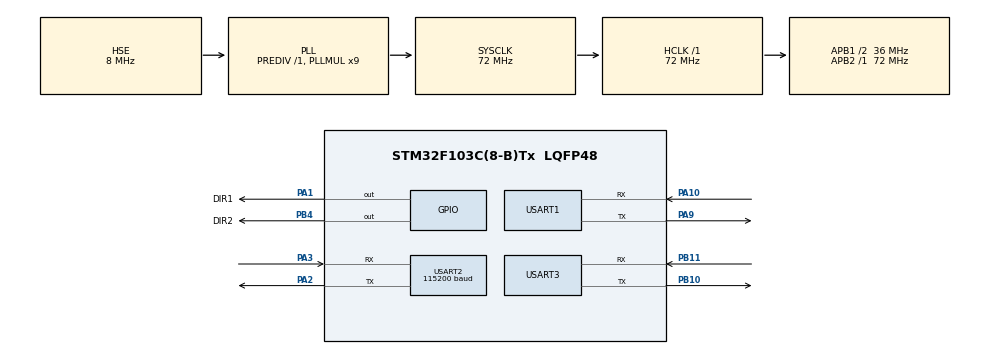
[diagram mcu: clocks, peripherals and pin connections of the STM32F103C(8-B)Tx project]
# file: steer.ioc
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Mcu.Family=STM32F1
Mcu.Name=STM32F103C(8-B)Tx
Mcu.Package=LQFP48
NVIC.PriorityGroup=NVIC_PRIORITYGROUP_4
NVIC.USART1_IRQn=true\:0\:0\:false\:false\:true\:true\:true\:true
NVIC.USART2_IRQn=true\:0\:0\:false\:false\:true\:true\:true\:true
NVIC.USART3_IRQn=true\:0\:0\:false\:false\:true\:true\:true\:true
PA1.GPIO_Label=DIR1
PA1.PinState=GPIO_PIN_RESET
PA1.Signal=GPIO_Output
PA10.Mode=Asynchronous
PA10.Signal=USART1_RX
PA13.Mode=Serial_Wire
PA13.Signal=SYS_JTMS-SWDIO
PA14.Mode=Serial_Wire
PA14.Signal=SYS_JTCK-SWCLK
PA2.Mode=Asynchronous
PA2.Signal=USART2_TX
PA3.Mode=Asynchronous
PA3.Signal=USART2_RX
PA9.Mode=Asynchronous
PA9.Signal=USART1_TX
PB10.Mode=Asynchronous
PB10.Signal=USART3_TX
PB11.Mode=Asynchronous
PB11.Signal=USART3_RX
PB4.GPIO_Label=DIR2
PB4.Signal=GPIO_Output
PC14-OSC32_IN.Mode=LSE-External-Oscillator
PC14-OSC32_IN.Signal=RCC_OSC32_IN
PC15-OSC32_OUT.Mode=LSE-External-Oscillator
PC15-OSC32_OUT.Signal=RCC_OSC32_OUT
PD0-OSC_IN.Mode=HSE-External-Oscillator
PD0-OSC_IN.Signal=RCC_OSC_IN
PD1-OSC_OUT.Mode=HSE-External-Oscillator
PD1-OSC_OUT.Signal=RCC_OSC_OUT
ProjectManager.HeapSize=0x200
ProjectManager.StackSize=0x400
ProjectManager.TargetToolchain=STM32CubeIDE
RCC.AHBFreq_Value=72000000
RCC.APB1CLKDivider=RCC_HCLK_DIV2
RCC.APB1Freq_Value=36000000
RCC.APB1TimFreq_Value=72000000
RCC.APB2Freq_Value=72000000
RCC.APB2TimFreq_Value=72000000
RCC.HCLKFreq_Value=72000000
RCC.PLLMUL=RCC_PLL_MUL9
RCC.PLLSourceVirtual=RCC_PLLSOURCE_HSE
RCC.SYSCLKFreq_VALUE=72000000
RCC.SYSCLKSource=RCC_SYSCLKSOURCE_PLLCLK
RCC.USBFreq_Value=72000000
USART1.VirtualMode=VM_ASYNC
USART2.BaudRate=115200
USART2.VirtualMode=VM_ASYNC
USART3.VirtualMode=VM_ASYNC
VP_TIM1_VS_ClockSourceINT.Mode=Internal
board=custom

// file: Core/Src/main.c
/* USER CODE BEGIN Header */
/**
  ******************************************************************************
  * @file           : main.c
  * @brief          : Main program body
  ******************************************************************************
  * @attention
  *
  * Copyright (c) 2025 STMicroelectronics.
  * All rights reserved.
  *
  * This software is licensed under terms that can be found in the LICENSE file
  * in the root directory of this software component.
  * If no LICENSE file comes with this software, it is provided AS-IS.
  *
  ******************************************************************************
  */
/* USER CODE END Header */
#include "main.h"
#include "tim.h"
#include "usart.h"
#include "gpio.h"

/* USER CODE BEGIN PTD */
// 舵机位置信息结构体
typedef struct {
    uint8_t id;
    uint16_t length;
    uint8_t inst;
    uint8_t error;
    uint32_t position;
    uint8_t crc1;
    uint8_t crc2;
} XPositionInfo;

typedef struct {
    uint8_t id;
    uint16_t length;
    uint8_t inst;
    uint8_t error;
    uint16_t position;
    uint8_t crc1;
    uint8_t crc2;
} X320PositionInfo;
/* USER CODE END PTD */

/* USER CODE BEGIN PV */
/*                  		֡ͷ                  id      length       instruct    address     parameters               crc          */
uint8_t torqueFrame[]={  0xFF,0xFF,0xFD,0x00,  0x00,   0x06,0x00,   0x03,      0x40,0x00,   0x01,                   0x00,0x00};
uint8_t ledFrame[]={     0xFF,0xFF,0xFD,0x00,  0x00,   0x06,0x00,   0x03,      0x19,0x00,   0x01,                   0x00,0x00};
uint8_t ctrlModeFrame[]={0xFF,0xFF,0xFD,0x00,  0x00,   0x06,0x00,   0x03,      0x0B,0x00,   0x02,                   0x00,0x00};
uint8_t xl320PFrame[]={  0xFF,0xFF,0xFD,0x00,  0x00,   0x07,0x00,   0x03,      0x1e,0x00,   0x01,0x00,              0x65,0x6D};
uint8_t xl320MSFrame[]={ 0xFF,0xFF,0xFD,0x00,  0x00,   0x07,0x00,   0x03,      0x20,0x00,   0x01,0x00,              0x65,0x6D};
uint8_t xl320PGFrame[]={ 0xFF,0xFF,0xFD,0x00,  0x00,   0x06,0x00,   0x03,      0x1D,0x00,   0x20,                   0x65,0x6D};

uint8_t xl320PRead[]={   0xFF,0xFF,0xFD,0x00,  0x00,   0x07,0x00,   0x02,      0x25,0x00,   0x02,0x00,              0x21,0xB5};

X320PositionInfo *xl320_1=0;
uint8_t xl320_1_data[9];

// 添加读取位置指令帧
uint8_t xl320ReadGoalPosition[] = {0xFF,0xFF,0xFD,0x00,0x00,0x07,0x00,0x02,0x25,0x00,0x02,0x00,0x21,0xB5};

// 串口接收缓冲区
uint8_t uart2_rx_buffer[16];
volatile uint8_t position_received = 0;

/* USER CODE END PV */

void SystemClock_Config(void);
/* USER CODE BEGIN PFP */
// XL系列舵机函数声明
void xlSeriesStart(void);
void xlSeriesControlMode(uint8_t id, uint8_t mode);
void xlSeriesSetDirection(uint8_t tx_mode);
void xlSeriesSendFrame(UART_HandleTypeDef *huart, uint8_t *frame, uint16_t length);
uint16_t updateCRC(uint16_t crc_accum, uint8_t *data_blk_ptr, uint16_t data_blk_size);
void xlSeriesLed(uint8_t id, uint8_t on, uint8_t address);
void xlSeriesTorque(uint8_t id, uint8_t on, uint8_t address);
void xl320SendPosition(uint8_t id, uint16_t position);
void xl320SendMovingSpeed(uint8_t id, uint16_t movingSpeed);
void xl320SendPGain(uint8_t id, uint8_t pGain);
void xl320ReadPosition(uint8_t id);
void xlPowerOff(uint8_t isOn);
// 新增函数声明
void xl320ReadPosition(uint8_t id);
uint8_t verifyPositionPacket(uint8_t *data);
uint16_t parsePositionValue(uint8_t *data);
uint16_t processPositionData(void);
void USART2_ReadCallback(void);
/* USER CODE END PFP */

int main(void)
{

  /* MCU Configuration--------------------------------------------------------*/

  /* Reset of all peripherals, Initializes the Flash interface and the Systick. */
  HAL_Init();

  /* Configure the system clock */
  SystemClock_Config();

  /* Initialize all configured peripherals */
  MX_GPIO_Init();
  MX_USART1_UART_Init();
  MX_TIM1_Init();
  MX_USART2_UART_Init();
  MX_USART3_UART_Init();

  /* USER CODE BEGIN 2 */
  // 初始化舵机系统
  xlSeriesStart();

  // 设置舵机到初始位置
  //xl320SendMovingSpeed(SERVO_ID, 100);
  xl320SendPosition(SERVO_ID, 610);
  xlSeriesLed(SERVO_ID, LED_CYAN, XL320Led);
  HAL_Delay(2000);
//  xl320SendPosition(SERVO_ID, 0);
//  xlSeriesLed(SERVO_ID, LED_PURPLE, XL320Led);
//  HAL_Delay(1000);

  // === 新增：读取位置并控制LED ===
  // 1. 发送读取位置指令
  xl320ReadPosition(SERVO_ID);

  // 2. 等待接收数据
  HAL_Delay(10); // 短暂等待数据接收

  // 3. 处理接收到的数据
  uint16_t curr_pos = processPositionData();
  char message[50];
  uint16_t len = sprintf(message, "id:%d, position:%d\r\n", SERVO_ID, curr_pos);

  /* USER CODE END 2 */

  /* Infinite loop */
  while (1)
  {

    HAL_Delay(1000);

    Debug_Print(message,len);

	HAL_Delay(1000);

  }
  /* USER CODE END 3 */
}
void SystemClock_Config(void)
{
  RCC_OscInitTypeDef RCC_OscInitStruct = {0};
  RCC_ClkInitTypeDef RCC_ClkInitStruct = {0};

  /** Initializes the RCC Oscillators according to the specified parameters
  * in the RCC_OscInitTypeDef structure.
  */
  RCC_OscInitStruct.OscillatorType = RCC_OSCILLATORTYPE_HSE;
  RCC_OscInitStruct.HSEState = RCC_HSE_ON;
  RCC_OscInitStruct.HSEPredivValue = RCC_HSE_PREDIV_DIV1;
  RCC_OscInitStruct.HSIState = RCC_HSI_ON;
  RCC_OscInitStruct.PLL.PLLState = RCC_PLL_ON;
  RCC_OscInitStruct.PLL.PLLSource = RCC_PLLSOURCE_HSE;
  RCC_OscInitStruct.PLL.PLLMUL = RCC_PLL_MUL9;
  if (HAL_RCC_OscConfig(&RCC_OscInitStruct) != HAL_OK)
  {
    Error_Handler();
  }

  /** Initializes the CPU, AHB and APB buses clocks
  */
  RCC_ClkInitStruct.ClockType = RCC_CLOCKTYPE_HCLK|RCC_CLOCKTYPE_SYSCLK
                              |RCC_CLOCKTYPE_PCLK1|RCC_CLOCKTYPE_PCLK2;
  RCC_ClkInitStruct.SYSCLKSource = RCC_SYSCLKSOURCE_PLLCLK;
  RCC_ClkInitStruct.AHBCLKDivider = RCC_SYSCLK_DIV1;
  RCC_ClkInitStruct.APB1CLKDivider = RCC_HCLK_DIV2;
  RCC_ClkInitStruct.APB2CLKDivider = RCC_HCLK_DIV1;

  if (HAL_RCC_ClockConfig(&RCC_ClkInitStruct, FLASH_LATENCY_2) != HAL_OK)
  {
    Error_Handler();
  }
}

/* USER CODE BEGIN 4 */
// ============================================================================
// XL系列舵机控制函数
// ============================================================================

/**
  * @brief  初始化舵机系统
  * @retval None
  */
void xlSeriesStart(void)
{
    // 初始化LED和扭矩

    xlSeriesLed(SERVO_ID, 0x01, XL320Led);
    HAL_Delay(100);

    xlSeriesTorque(SERVO_ID, 0x00, XL320Torque);
    HAL_Delay(100);

    xlSeriesControlMode(SERVO_ID, 2);
    HAL_Delay(100);

    xl320SendMovingSpeed(SERVO_ID, 100);
}

/**
  * @brief  设置通信方向
  * @param  tx_mode: 1=发送模式, 0=接收模式
  * @retval None
  */
void xlSeriesSetDirection(uint8_t tx_mode)
{
    if (tx_mode) {
        HAL_GPIO_WritePin(DIR1_GPIO_Port, DIR1_Pin, GPIO_PIN_SET);
    } else {
        HAL_GPIO_WritePin(DIR1_GPIO_Port, DIR1_Pin, GPIO_PIN_RESET);
    }
}

/**
  * @brief  发送数据帧
  * @param  huart: 串口句柄
  * @param  frame: 数据帧指针
  * @param  length: 数据长度
  * @retval None
  */
void xlSeriesSendFrame(UART_HandleTypeDef *huart, uint8_t *frame, uint16_t length)
{
    xlSeriesSetDirection(1); // 设置为发送模式

    HAL_UART_Transmit(huart, frame, length, 100);

    // 等待发送完成
    while (HAL_UART_GetState(huart) != HAL_UART_STATE_READY);

    xlSeriesSetDirection(0); // 切换回接收模式
}

/**
  * @brief  CRC计算函数
  * @param  crc_accum: 初始CRC值
  * @param  data_blk_ptr: 数据指针
  * @param  data_blk_size: 数据长度
  * @retval 计算后的CRC值
  */
uint16_t updateCRC(uint16_t crc_accum, uint8_t *data_blk_ptr, uint16_t data_blk_size)
{
	  uint16_t i, j;
	  static const uint16_t crc_table[256] = { 0x0000,
	    0x8005, 0x800F, 0x000A, 0x801B, 0x001E, 0x0014, 0x8011,
	    0x8033, 0x0036, 0x003C, 0x8039, 0x0028, 0x802D, 0x8027,
	    0x0022, 0x8063, 0x0066, 0x006C, 0x8069, 0x0078, 0x807D,
	    0x8077, 0x0072, 0x0050, 0x8055, 0x805F, 0x005A, 0x804B,
	    0x004E, 0x0044, 0x8041, 0x80C3, 0x00C6, 0x00CC, 0x80C9,
	    0x00D8, 0x80DD, 0x80D7, 0x00D2, 0x00F0, 0x80F5, 0x80FF,
	    0x00FA, 0x80EB, 0x00EE, 0x00E4, 0x80E1, 0x00A0, 0x80A5,
	    0x80AF, 0x00AA, 0x80BB, 0x00BE, 0x00B4, 0x80B1, 0x8093,
	    0x0096, 0x009C, 0x8099, 0x0088, 0x808D, 0x8087, 0x0082,
	    0x8183, 0x0186, 0x018C, 0x8189, 0x0198, 0x819D, 0x8197,
	    0x0192, 0x01B0, 0x81B5, 0x81BF, 0x01BA, 0x81AB, 0x01AE,
	    0x01A4, 0x81A1, 0x01E0, 0x81E5, 0x81EF, 0x01EA, 0x81FB,
	    0x01FE, 0x01F4, 0x81F1, 0x81D3, 0x01D6, 0x01DC, 0x81D9,
	    0x01C8, 0x81CD, 0x81C7, 0x01C2, 0x0140, 0x8145, 0x814F,
	    0x014A, 0x815B, 0x015E, 0x0154, 0x8151, 0x8173, 0x0176,
	    0x017C, 0x8179, 0x0168, 0x816D, 0x8167, 0x0162, 0x8123,
	    0x0126, 0x012C, 0x8129, 0x0138, 0x813D, 0x8137, 0x0132,
	    0x0110, 0x8115, 0x811F, 0x011A, 0x810B, 0x010E, 0x0104,
	    0x8101, 0x8303, 0x0306, 0x030C, 0x8309, 0x0318, 0x831D,
	    0x8317, 0x0312, 0x0330, 0x8335, 0x833F, 0x033A, 0x832B,
	    0x032E, 0x0324, 0x8321, 0x0360, 0x8365, 0x836F, 0x036A,
	    0x837B, 0x037E, 0x0374, 0x8371, 0x8353, 0x0356, 0x035C,
	    0x8359, 0x0348, 0x834D, 0x8347, 0x0342, 0x03C0, 0x83C5,
	    0x83CF, 0x03CA, 0x83DB, 0x03DE, 0x03D4, 0x83D1, 0x83F3,
	    0x03F6, 0x03FC, 0x83F9, 0x03E8, 0x83ED, 0x83E7, 0x03E2,
	    0x83A3, 0x03A6, 0x03AC, 0x83A9, 0x03B8, 0x83BD, 0x83B7,
	    0x03B2, 0x0390, 0x8395, 0x839F, 0x039A, 0x838B, 0x038E,
	    0x0384, 0x8381, 0x0280, 0x8285, 0x828F, 0x028A, 0x829B,
	    0x029E, 0x0294, 0x8291, 0x82B3, 0x02B6, 0x02BC, 0x82B9,
	    0x02A8, 0x82AD, 0x82A7, 0x02A2, 0x82E3, 0x02E6, 0x02EC,
	    0x82E9, 0x02F8, 0x82FD, 0x82F7, 0x02F2, 0x02D0, 0x82D5,
	    0x82DF, 0x02DA, 0x82CB, 0x02CE, 0x02C4, 0x82C1, 0x8243,
	    0x0246, 0x024C, 0x8249, 0x0258, 0x825D, 0x8257, 0x0252,
	    0x0270, 0x8275, 0x827F, 0x027A, 0x826B, 0x026E, 0x0264,
	    0x8261, 0x0220, 0x8225, 0x822F, 0x022A, 0x823B, 0x023E,
	    0x0234, 0x8231, 0x8213, 0x0216, 0x021C, 0x8219, 0x0208,
	    0x820D, 0x8207, 0x0202 };

	  for (j = 0; j < data_blk_size; j++)
	  {
	    i = ((uint16_t)(crc_accum >> 8) ^ *data_blk_ptr++) & 0xFF;
	    crc_accum = (crc_accum << 8) ^ crc_table[i];
	  }

	  return crc_accum;
}

/**
  * @brief  控制舵机LED
  * @param  id: 舵机ID
  * @param  on: LED状态
  * @param  address: LED地址
  * @retval None
  */
void xlSeriesLed(uint8_t id, uint8_t on, uint8_t address)
{
    uint16_t crc;

    ledFrame[4] = id;
    ledFrame[8] = address;
    ledFrame[10] = on;

    crc = updateCRC(0, ledFrame, 11);
    ledFrame[11] = (uint8_t)(crc & 0xff);
    ledFrame[12] = (uint8_t)((crc >> 8) & 0xff);

    xlSeriesSendFrame(&huart2, ledFrame, 13);
    HAL_Delay(1);
}

/**
  * @brief  控制舵机模式
  * @param  id: 舵机ID
  * @param  mode: 控制模式：1、滚动模式 2、关节模式
  * @retval None
  */
void xlSeriesControlMode(uint8_t id, uint8_t mode)
{
    uint16_t crc;

    ctrlModeFrame[4] = id;
    ctrlModeFrame[10] = mode;

    crc = updateCRC(0, ctrlModeFrame, 11);
    ctrlModeFrame[11] = (uint8_t)(crc & 0xff);
    ctrlModeFrame[12] = (uint8_t)((crc >> 8) & 0xff);

    xlSeriesSendFrame(&huart2, ctrlModeFrame, 13);
    HAL_Delay(1);
}

/**
  * @brief  控制舵机扭矩
  * @param  id: 舵机ID
  * @param  on: 扭矩状态
  * @param  address: 扭矩地址
  * @retval None
  */
void xlSeriesTorque(uint8_t id, uint8_t on, uint8_t address)
{
    uint16_t crc;

    torqueFrame[4] = id;
    torqueFrame[8] = address;
    torqueFrame[10] = on;

    crc = updateCRC(0, torqueFrame, 11);
    torqueFrame[11] = (uint8_t)(crc & 0xff);
    torqueFrame[12] = (uint8_t)((crc >> 8) & 0xff);

    xlSeriesSendFrame(&huart2, torqueFrame, 13);
    HAL_Delay(1);
}

/**
  * @brief  设置XL320舵机位置
  * @param  id: 舵机ID
  * @param  position: 目标位置
  * @retval None
  */
void xl320SendPosition(uint8_t id, uint16_t position)
{
    uint16_t crc;

    xl320PFrame[4] = id;
    xl320PFrame[10] = (uint8_t)(position & 0xFF);
    xl320PFrame[11] = (uint8_t)((position >> 8) & 0xFF);

    crc = updateCRC(0, xl320PFrame, 12);
    xl320PFrame[12] = (uint8_t)(crc & 0xff);
    xl320PFrame[13] = (uint8_t)((crc >> 8) & 0xff);

    xlSeriesSendFrame(&huart2, xl320PFrame, 14);
    HAL_Delay(1);
}

/**
  * @brief  设置XL320转速
  * @param  id: 舵机ID
  * @param  movingSpeed: 目标位置
  * @retval None
  */
void xl320SendMovingSpeed(uint8_t id, uint16_t movingSpeed)
{
    uint16_t crc;

    xl320MSFrame[4] = id;
    xl320MSFrame[10] = (uint8_t)(movingSpeed & 0xFF);
    xl320MSFrame[11] = (uint8_t)((movingSpeed >> 8) & 0xFF);

    crc = updateCRC(0, xl320MSFrame, 12);
    xl320MSFrame[12] = (uint8_t)(crc & 0xff);
    xl320MSFrame[13] = (uint8_t)((crc >> 8) & 0xff);

    xlSeriesSendFrame(&huart2, xl320MSFrame, 14);
    HAL_Delay(1);
}

/**
  * @brief  设置XL320舵机P增益
  * @param  id: 舵机ID
  * @param  pGain: P增益值
  * @retval None
  */
void xl320SendPGain(uint8_t id, uint8_t pGain)
{
    uint16_t crc;

    xl320PGFrame[4] = id;
    xl320PGFrame[10] = pGain;

    crc = updateCRC(0, xl320PGFrame, 11);
    xl320PGFrame[11] = (uint8_t)(crc & 0xff);
    xl320PGFrame[12] = (uint8_t)((crc >> 8) & 0xff);

    xlSeriesSendFrame(&huart2, xl320PGFrame, 13);
    HAL_Delay(2);
}

/**
  * @brief  舵机电源控制
  * @param  isOn: 电源状态 (1=开启, 0=关闭)
  * @retval None
  */
void xlPowerOff(uint8_t isOn)
{
    if(isOn){
        // 开启所有舵机
        xlSeriesTorque(SERVO_ID_1, 0x01, XL430Torque);
        xlSeriesTorque(SERVO_ID_2, 0x01, XL430Torque);
        xlSeriesTorque(SERVO_ID, 0x01, XL320Torque);

        xlSeriesLed(SERVO_ID_1, 0x01, XL430Led);
        xlSeriesLed(SERVO_ID_2, 0x01, XL430Led);
        xlSeriesLed(SERVO_ID, 0x01, XL320Led);
    } else {
        // 关闭所有舵机
        xlSeriesTorque(SERVO_ID_1, 0x00, XL430Torque);
        xlSeriesTorque(SERVO_ID_2, 0x00, XL430Torque);
        xlSeriesTorque(SERVO_ID, 0x00, XL320Torque);

        xlSeriesLed(SERVO_ID_1, 0x00, XL430Led);
        xlSeriesLed(SERVO_ID_2, 0x00, XL430Led);
        xlSeriesLed(SERVO_ID, 0x00, XL320Led);
    }
}

/* USER CODE END 4 */

/**
  * @brief  通过串口3发送字符串到PC端（不换行）
  * @param  message: 要发送的字符串
  * @retval None
  */
void Debug_Print(const char* message, uint16_t len)
{

	// 设置串口3为发送模式
	HAL_GPIO_WritePin(DIR2_GPIO_Port, DIR2_Pin, GPIO_PIN_SET);

	// 通过串口3发送数据
	HAL_UART_Transmit(&huart3, (uint8_t*)message, len, 100);

	// 等待发送完成
	while (HAL_UART_GetState(&huart3) != HAL_UART_STATE_READY);

	// 设置串口3为接收模式
	HAL_GPIO_WritePin(DIR2_GPIO_Port, DIR2_Pin, GPIO_PIN_RESET);
}

/**
 * @brief 读取XL320舵机位置
 * @param id: 舵机ID
 * @retval None
 */
void xl320ReadPosition(uint8_t id)
{
    uint16_t crc;

    // 更新ID
    xl320ReadGoalPosition[4] = id;

    // 计算CRC（从包头到参数结束，不包括CRC字段）
    crc = updateCRC(0, xl320ReadGoalPosition, 12);
    xl320ReadGoalPosition[12] = (uint8_t)(crc & 0xFF);
    xl320ReadGoalPosition[13] = (uint8_t)((crc >> 8) & 0xFF);

    // 发送读取指令
    xlSeriesSendFrame(&huart2, xl320ReadGoalPosition, 14);

    // 启动串口接收
    // 使用轮询接收（推荐）
    uint8_t length = 13;
	HAL_StatusTypeDef status = HAL_UART_Receive(&huart2, uart2_rx_buffer, length, 500);

	if (status == HAL_OK) {
		// 接收成功 - 黄色
		xlSeriesLed(SERVO_ID, LED_YELLOW, XL320Led);
		position_received = 1;
	} else {
		// 接收失败 - 红色
		xlSeriesLed(SERVO_ID, LED_RED, XL320Led);
		position_received = 0;
	}

    HAL_Delay(500);
}

/**
 * @brief 验证位置数据包的有效性
 * @param data: 接收到的数据
 * @retval 1:有效 0:无效
 */
uint8_t verifyPositionPacket(uint8_t *data)
{
    // 检查包头
    if (data[0] != 0xFF || data[1] != 0xFF || data[2] != 0xFD || data[3] != 0x00) {
        return 0;
    }

    // 检查指令（应该是0x55，即读取应答）
    if (data[7] != 0x55) {
        return 0;
    }

    return 1;
}

/**
 * @brief 从数据包中解析位置值
 * @param data: 接收到的数据
 * @retval 位置值
 */
uint16_t parsePositionValue(uint8_t *data)
{
    // 位置值在数据包的参数部分（索引9和10）
    return (uint16_t)(data[10] << 8) | data[9];
}

/**
 * @brief 处理接收到的位置数据
 * @retval 返回位置数据
 */
uint16_t processPositionData(void)
{
    if (position_received) {
        if (verifyPositionPacket(uart2_rx_buffer)) {
            uint16_t current_position = parsePositionValue(uart2_rx_buffer);
            position_received = 0; // 重置标志
            return current_position;
		} else {
			xlSeriesLed(SERVO_ID, LED_GREEN, XL320Led);
		}
    }
}

/**
 * @brief 串口2接收完成回调函数
 * @retval None
 */
void HAL_UART_RxCpltCallback(UART_HandleTypeDef *huart)
{
    if (huart->Instance == USART2) {
        position_received = 1; // 设置接收完成标志
    }
}

void Error_Handler(void)
{
  __disable_irq();
  while (1)
  {
  }
}
